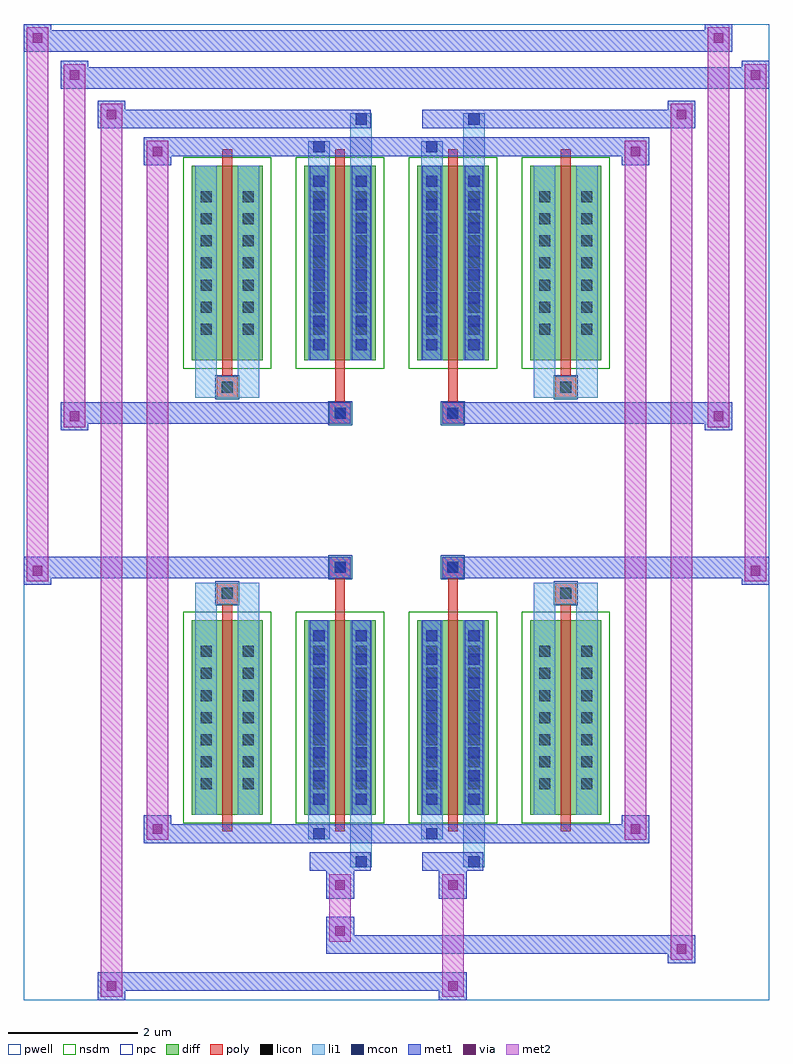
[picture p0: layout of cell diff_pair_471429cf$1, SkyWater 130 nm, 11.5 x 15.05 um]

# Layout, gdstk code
import gdstk
lib = gdstk.Library(unit=1e-6, precision=5e-09)
def R(c, l, rs):  # rectangles x0, y0, x1, y1
    for r in rs: c.add(gdstk.rectangle(r[:2], r[2:], *l))
def A(c, l, x, y, w, h, nx, ny, dx, dy):  # array of equal rectangles
    R(c, l, [(x+i*dx, y+j*dy, x+i*dx+w, y+j*dy+h) for i in range(nx) for j in range(ny)])
def P(c, l, *ps):  # polygons
    for p in ps: c.add(gdstk.Polygon(p, *l))
pwell = (64, 44)
diff = (65, 20)
poly = (66, 20)
licon = (66, 44)
li1 = (67, 20)
mcon = (67, 44)
met1 = (68, 20)
via = (68, 44)
met2 = (69, 20)
nsdm = (93, 44)
npc = (95, 20)

diff_pair_471429cf_1 = lib.new_cell('diff_pair_471429cf$1')
R(diff_pair_471429cf_1, pwell, [(-5.75,-7.86,5.75,7.19), (-3.47,-6.05,-0.01,-0.825), (0.01,-6.05,3.47,-0.825), (-3.47,0.825,-0.01,6.05), (0.01,0.825,3.47,6.05)])
A(diff_pair_471429cf_1, diff, -3.16, -5.005, 1.1, 3, 4, 2, 1.74, 7.01)
A(diff_pair_471429cf_1, poly, -2.685, -5.255, 0.15, 3.5, 4, 2, 1.74, 7.01)
R(diff_pair_471429cf_1, poly, [(-2.775,-1.755,-2.445,-1.425), (-2.775,-1.755,-2.445,-1.425), (-0.945,-1.755,-0.795,-1.355), (0.795,-1.755,0.945,-1.355), (2.445,-1.755,2.775,-1.425), (2.445,-1.755,2.775,-1.425), (-1.035,-1.355,-0.705,-1.025), (-1.035,-1.355,-0.705,-1.025), (0.705,-1.355,1.035,-1.025), (0.705,-1.355,1.035,-1.025), (-1.035,1.025,-0.705,1.355), (-1.035,1.025,-0.705,1.355), (0.705,1.025,1.035,1.355), (0.705,1.025,1.035,1.355), (-0.945,1.355,-0.795,1.755), (0.795,1.355,0.945,1.755), (-2.775,1.425,-2.445,1.755), (-2.775,1.425,-2.445,1.755), (2.445,1.425,2.775,1.755), (2.445,1.425,2.775,1.755)])
A(diff_pair_471429cf_1, licon, -3.02, -4.61, 0.17, 0.17, 1, 7, 0, 0.34)
A(diff_pair_471429cf_1, licon, -2.37, -4.61, 0.17, 0.17, 1, 7, 0, 0.34)
A(diff_pair_471429cf_1, licon, -1.28, -4.61, 0.17, 0.17, 1, 7, 0, 0.34)
A(diff_pair_471429cf_1, licon, -0.63, -4.61, 0.17, 0.17, 1, 7, 0, 0.34)
A(diff_pair_471429cf_1, licon, 0.46, -4.61, 0.17, 0.17, 1, 7, 0, 0.34)
A(diff_pair_471429cf_1, licon, 1.11, -4.61, 0.17, 0.17, 1, 7, 0, 0.34)
A(diff_pair_471429cf_1, licon, 2.2, -4.61, 0.17, 0.17, 1, 7, 0, 0.34)
A(diff_pair_471429cf_1, licon, 2.85, -4.61, 0.17, 0.17, 1, 7, 0, 0.34)
A(diff_pair_471429cf_1, licon, -3.02, 2.4, 0.17, 0.17, 1, 7, 0, 0.34)
A(diff_pair_471429cf_1, licon, -2.37, 2.4, 0.17, 0.17, 1, 7, 0, 0.34)
A(diff_pair_471429cf_1, licon, -1.28, 2.4, 0.17, 0.17, 1, 7, 0, 0.34)
A(diff_pair_471429cf_1, licon, -0.63, 2.4, 0.17, 0.17, 1, 7, 0, 0.34)
A(diff_pair_471429cf_1, licon, 0.46, 2.4, 0.17, 0.17, 1, 7, 0, 0.34)
A(diff_pair_471429cf_1, licon, 1.11, 2.4, 0.17, 0.17, 1, 7, 0, 0.34)
A(diff_pair_471429cf_1, licon, 2.2, 2.4, 0.17, 0.17, 1, 7, 0, 0.34)
A(diff_pair_471429cf_1, licon, 2.85, 2.4, 0.17, 0.17, 1, 7, 0, 0.34)
R(diff_pair_471429cf_1, licon, [(-2.695,-1.675,-2.525,-1.505), (2.525,-1.675,2.695,-1.505), (-0.955,-1.275,-0.785,-1.105), (0.785,-1.275,0.955,-1.105), (-0.955,1.105,-0.785,1.275), (0.785,1.105,0.955,1.275), (-2.695,1.505,-2.525,1.675), (2.525,1.505,2.695,1.675)])
A(diff_pair_471429cf_1, li1, -1.28, -4.85, 0.17, 0.17, 1, 8, 0, 0.36)
A(diff_pair_471429cf_1, li1, -0.63, -4.85, 0.17, 0.17, 1, 8, 0, 0.36)
A(diff_pair_471429cf_1, li1, 0.46, -4.85, 0.17, 0.17, 1, 8, 0, 0.36)
A(diff_pair_471429cf_1, li1, 1.11, -4.85, 0.17, 0.17, 1, 8, 0, 0.36)
A(diff_pair_471429cf_1, li1, -3.1, -4.69, 0.33, 0.33, 1, 7, 0, 0.34)
A(diff_pair_471429cf_1, li1, -2.45, -4.69, 0.33, 0.33, 1, 7, 0, 0.34)
A(diff_pair_471429cf_1, li1, -1.36, -4.69, 0.33, 0.33, 1, 7, 0, 0.34)
A(diff_pair_471429cf_1, li1, -0.71, -4.69, 0.33, 0.33, 1, 7, 0, 0.34)
A(diff_pair_471429cf_1, li1, 0.38, -4.69, 0.33, 0.33, 1, 7, 0, 0.34)
A(diff_pair_471429cf_1, li1, 1.03, -4.69, 0.33, 0.33, 1, 7, 0, 0.34)
A(diff_pair_471429cf_1, li1, 2.12, -4.69, 0.33, 0.33, 1, 7, 0, 0.34)
A(diff_pair_471429cf_1, li1, 2.77, -4.69, 0.33, 0.33, 1, 7, 0, 0.34)
A(diff_pair_471429cf_1, li1, -1.28, 2.16, 0.17, 0.17, 1, 8, 0, 0.36)
A(diff_pair_471429cf_1, li1, -0.63, 2.16, 0.17, 0.17, 1, 8, 0, 0.36)
A(diff_pair_471429cf_1, li1, 0.46, 2.16, 0.17, 0.17, 1, 8, 0, 0.36)
A(diff_pair_471429cf_1, li1, 1.11, 2.16, 0.17, 0.17, 1, 8, 0, 0.36)
A(diff_pair_471429cf_1, li1, -3.1, 2.32, 0.33, 0.33, 1, 7, 0, 0.34)
A(diff_pair_471429cf_1, li1, -2.45, 2.32, 0.33, 0.33, 1, 7, 0, 0.34)
A(diff_pair_471429cf_1, li1, -1.36, 2.32, 0.33, 0.33, 1, 7, 0, 0.34)
A(diff_pair_471429cf_1, li1, -0.71, 2.32, 0.33, 0.33, 1, 7, 0, 0.34)
A(diff_pair_471429cf_1, li1, 0.38, 2.32, 0.33, 0.33, 1, 7, 0, 0.34)
A(diff_pair_471429cf_1, li1, 1.03, 2.32, 0.33, 0.33, 1, 7, 0, 0.34)
A(diff_pair_471429cf_1, li1, 2.12, 2.32, 0.33, 0.33, 1, 7, 0, 0.34)
A(diff_pair_471429cf_1, li1, 2.77, 2.32, 0.33, 0.33, 1, 7, 0, 0.34)
R(diff_pair_471429cf_1, li1, [(-0.71,-5.81,-0.38,-5.005), (-0.63,-5.81,-0.46,-5.64), (1.03,-5.81,1.36,-5.005), (1.11,-5.81,1.28,-5.64), (-1.36,-5.38,-1.03,-5.005), (-1.28,-5.38,-1.11,-5.21), (0.38,-5.38,0.71,-5.005), (0.46,-5.38,0.63,-5.21), (-3.1,-5.005,-2.77,-2.005), (-2.45,-5.005,-2.12,-2.005), (-1.36,-5.005,-1.03,-2.005), (-0.71,-5.005,-0.38,-2.005), (0.38,-5.005,0.71,-2.005), (1.03,-5.005,1.36,-2.005), (2.12,-5.005,2.45,-2.005), (2.77,-5.005,3.1,-2.005), (-1.28,-4.85,-1.11,-2.16), (-0.63,-4.85,-0.46,-2.16), (0.46,-4.85,0.63,-2.16), (1.11,-4.85,1.28,-2.16), (-3.1,-2.005,-2.77,-1.425), (-2.45,-2.005,-2.12,-1.425), (2.12,-2.005,2.45,-1.425), (2.77,-2.005,3.1,-1.425), (-3.1,-1.755,-2.775,-1.425), (-2.775,-1.755,-2.445,-1.425), (-2.445,-1.755,-2.12,-1.425), (2.12,-1.755,2.445,-1.425), (2.445,-1.755,2.775,-1.425), (2.775,-1.755,3.1,-1.425), (-1.035,-1.355,-0.705,-1.025), (0.705,-1.355,1.035,-1.025), (-1.035,1.025,-0.705,1.355), (0.705,1.025,1.035,1.355), (-3.1,1.425,-2.775,1.755), (-3.1,1.425,-2.77,2.005), (-2.775,1.425,-2.445,1.755), (-2.45,1.425,-2.12,2.005), (-2.445,1.425,-2.12,1.755), (2.12,1.425,2.445,1.755), (2.12,1.425,2.45,2.005), (2.445,1.425,2.775,1.755), (2.77,1.425,3.1,2.005), (2.775,1.425,3.1,1.755), (-3.1,2.005,-2.77,5.005), (-2.45,2.005,-2.12,5.005), (-1.36,2.005,-1.03,5.005), (-0.71,2.005,-0.38,5.005), (0.38,2.005,0.71,5.005), (1.03,2.005,1.36,5.005), (2.12,2.005,2.45,5.005), (2.77,2.005,3.1,5.005), (-1.28,2.16,-1.11,4.85), (-0.63,2.16,-0.46,4.85), (0.46,2.16,0.63,4.85), (1.11,2.16,1.28,4.85), (-1.36,5.005,-1.03,5.38), (-0.71,5.005,-0.38,5.81), (0.38,5.005,0.71,5.38), (1.03,5.005,1.36,5.81), (-1.28,5.21,-1.11,5.38), (0.46,5.21,0.63,5.38), (-0.63,5.64,-0.46,5.81), (1.11,5.64,1.28,5.81)])
A(diff_pair_471429cf_1, mcon, -1.28, -4.85, 0.17, 0.17, 1, 8, 0, 0.36)
A(diff_pair_471429cf_1, mcon, -0.63, -4.85, 0.17, 0.17, 1, 8, 0, 0.36)
A(diff_pair_471429cf_1, mcon, 0.46, -4.85, 0.17, 0.17, 1, 8, 0, 0.36)
A(diff_pair_471429cf_1, mcon, 1.11, -4.85, 0.17, 0.17, 1, 8, 0, 0.36)
A(diff_pair_471429cf_1, mcon, -1.28, 2.16, 0.17, 0.17, 1, 8, 0, 0.36)
A(diff_pair_471429cf_1, mcon, -0.63, 2.16, 0.17, 0.17, 1, 8, 0, 0.36)
A(diff_pair_471429cf_1, mcon, 0.46, 2.16, 0.17, 0.17, 1, 8, 0, 0.36)
A(diff_pair_471429cf_1, mcon, 1.11, 2.16, 0.17, 0.17, 1, 8, 0, 0.36)
R(diff_pair_471429cf_1, mcon, [(-0.63,-5.81,-0.46,-5.64), (1.11,-5.81,1.28,-5.64), (-1.28,-5.38,-1.11,-5.21), (0.46,-5.38,0.63,-5.21), (-0.955,-1.275,-0.785,-1.105), (0.785,-1.275,0.955,-1.105), (-0.955,1.105,-0.785,1.275), (0.785,1.105,0.955,1.275), (-1.28,5.21,-1.11,5.38), (0.46,5.21,0.63,5.38), (-0.63,5.64,-0.46,5.81), (1.11,5.64,1.28,5.81)])
A(diff_pair_471429cf_1, met1, -1.34, -4.91, 0.29, 0.29, 1, 8, 0, 0.36)
A(diff_pair_471429cf_1, met1, -0.69, -4.91, 0.29, 0.29, 1, 8, 0, 0.36)
A(diff_pair_471429cf_1, met1, 0.4, -4.91, 0.29, 0.29, 1, 8, 0, 0.36)
A(diff_pair_471429cf_1, met1, 1.05, -4.91, 0.29, 0.29, 1, 8, 0, 0.36)
A(diff_pair_471429cf_1, met1, -1.34, 2.1, 0.29, 0.29, 1, 8, 0, 0.36)
A(diff_pair_471429cf_1, met1, -0.69, 2.1, 0.29, 0.29, 1, 8, 0, 0.36)
A(diff_pair_471429cf_1, met1, 0.4, 2.1, 0.29, 0.29, 1, 8, 0, 0.36)
A(diff_pair_471429cf_1, met1, 1.05, 2.1, 0.29, 0.29, 1, 8, 0, 0.36)
R(diff_pair_471429cf_1, met1, [(-4.61,-7.86,-4.18,-7.43), (0.655,-7.86,1.085,-7.43), (-4.61,-7.72,1.085,-7.43), (4.18,-7.29,4.61,-6.86), (-1.085,-7.15,4.61,-6.86), (-1.085,-7.01,-0.655,-6.58), (-1.085,-6.3,-0.655,-5.87), (0.655,-6.3,1.085,-5.87), (-1.34,-5.87,-0.4,-5.58), (-0.69,-5.87,-0.4,-5.58), (0.4,-5.87,1.34,-5.58), (1.05,-5.87,1.34,-5.58), (-3.9,-5.44,-3.47,-5.01), (-3.9,-5.44,-1.34,-5.15), (-1.34,-5.44,-1.05,-5.15), (-1.34,-5.44,-0.4,-5.15), (-0.4,-5.44,0.4,-5.15), (0.4,-5.44,0.69,-5.15), (0.4,-5.44,1.34,-5.15), (1.34,-5.44,3.9,-5.15), (3.47,-5.44,3.9,-5.01), (-1.34,-5.005,-1.05,-2.005), (-0.69,-5.005,-0.4,-2.005), (0.4,-5.005,0.69,-2.005), (1.05,-5.005,1.34,-2.005), (-5.75,-1.455,-5.32,-1.025), (5.32,-1.455,5.75,-1.025), (-5.75,-1.355,-0.705,-1.025), (-1.035,-1.355,-0.705,-1.025), (0.705,-1.355,1.035,-1.025), (0.705,-1.355,5.75,-1.025), (-1.015,-1.335,-0.725,-1.045), (0.725,-1.335,1.015,-1.045), (-5.18,0.925,-4.75,1.355), (4.75,0.925,5.18,1.355), (-5.18,1.025,-1.035,1.355), (-1.035,1.025,-0.705,1.355), (0.705,1.025,1.035,1.355), (1.035,1.025,5.18,1.355), (-1.015,1.045,-0.725,1.335), (0.725,1.045,1.015,1.335), (-1.34,2.005,-1.05,5.005), (-0.69,2.005,-0.4,5.005), (0.4,2.005,0.69,5.005), (1.05,2.005,1.34,5.005), (-3.9,5.01,-3.47,5.44), (3.47,5.01,3.9,5.44), (-3.9,5.15,-1.34,5.44), (-1.34,5.15,-1.05,5.44), (-1.34,5.15,-0.4,5.44), (-0.4,5.15,0.4,5.44), (0.4,5.15,0.69,5.44), (0.4,5.15,1.34,5.44), (1.34,5.15,3.9,5.44), (-4.61,5.58,-4.18,6.01), (-4.61,5.58,-1.34,5.87), (-1.34,5.58,-0.4,5.87), (-0.69,5.58,-0.4,5.87), (0.4,5.58,1.34,5.87), (1.05,5.58,1.34,5.87), (1.34,5.58,4.61,5.87), (4.18,5.58,4.61,6.01), (-5.18,6.19,-4.75,6.62), (-5.18,6.19,-3.47,6.52), (-3.47,6.19,3.47,6.52), (3.47,6.19,5.75,6.52), (5.32,6.19,5.75,6.62), (-5.75,6.76,-5.32,7.19), (-5.75,6.76,-3.47,7.09), (-3.47,6.76,3.47,7.09), (3.47,6.76,5.18,7.09), (4.75,6.76,5.18,7.19)])
R(diff_pair_471429cf_1, via, [(-4.47,-7.72,-4.32,-7.57), (0.795,-7.72,0.945,-7.57), (4.32,-7.15,4.47,-7), (-0.945,-6.87,-0.795,-6.72), (-0.945,-6.16,-0.795,-6.01), (0.795,-6.16,0.945,-6.01), (-3.76,-5.3,-3.61,-5.15), (3.61,-5.3,3.76,-5.15), (-5.61,-1.315,-5.46,-1.165), (5.46,-1.315,5.61,-1.165), (-5.04,1.065,-4.89,1.215), (4.89,1.065,5.04,1.215), (-3.76,5.15,-3.61,5.3), (3.61,5.15,3.76,5.3), (-4.47,5.72,-4.32,5.87), (4.32,5.72,4.47,5.87), (-5.04,6.33,-4.89,6.48), (5.46,6.33,5.61,6.48), (-5.61,6.9,-5.46,7.05), (4.89,6.9,5.04,7.05)])
R(diff_pair_471429cf_1, met2, [(-4.56,-7.81,-4.23,-7.48), (-4.56,-7.81,-4.23,5.96), (0.705,-7.81,1.035,-7.48), (0.705,-7.48,1.035,-6.25), (4.23,-7.24,4.56,-6.91), (4.23,-7.24,4.56,5.96), (-1.035,-6.96,-0.705,-6.63), (-1.035,-6.63,-0.705,-6.25), (-1.035,-6.25,-0.705,-5.92), (0.705,-6.25,1.035,-5.92), (-3.85,-5.39,-3.52,-5.06), (-3.85,-5.39,-3.52,5.39), (3.52,-5.39,3.85,-5.06), (3.52,-5.39,3.85,5.39), (-5.7,-1.405,-5.37,-1.075), (-5.7,-1.405,-5.37,7.14), (5.37,-1.405,5.7,-1.075), (5.37,-1.405,5.7,6.57), (-5.13,0.975,-4.8,1.305), (-5.13,0.975,-4.8,6.57), (4.8,0.975,5.13,1.305), (4.8,0.975,5.13,7.14), (-3.85,5.06,-3.52,5.39), (3.52,5.06,3.85,5.39), (-4.56,5.63,-4.23,5.96), (4.23,5.63,4.56,5.96), (-5.13,6.24,-4.8,6.57), (5.37,6.24,5.7,6.57), (-5.7,6.81,-5.37,7.14), (4.8,6.81,5.13,7.14)])
P(diff_pair_471429cf_1, met2, [(5.7,-1.405),(5.7,-1.405),(5.7,-1.075),(5.7,-1.075)],
  [(5.7,6.24),(5.7,6.24),(5.7,6.57),(5.7,6.57)],
  [(-5.37,-1.405),(-5.37,-1.405),(-5.37,-1.075),(-5.37,-1.075)],
  [(-5.37,6.81),(-5.37,6.81),(-5.37,7.14),(-5.37,7.14)],
  [(5.13,0.975),(5.13,0.975),(5.13,1.305),(5.13,1.305)],
  [(5.13,6.81),(5.13,6.81),(5.13,7.14),(5.13,7.14)],
  [(-4.8,0.975),(-4.8,0.975),(-4.8,1.305),(-4.8,1.305)],
  [(-4.8,6.24),(-4.8,6.24),(-4.8,6.57),(-4.8,6.57)],
  [(-4.23,-7.81),(-4.23,-7.81),(-4.23,-7.48),(-4.23,-7.48)],
  [(-4.23,5.63),(-4.23,5.63),(-4.23,5.96),(-4.23,5.96)],
  [(4.56,-7.24),(4.56,-7.24),(4.56,-6.91),(4.56,-6.91)],
  [(4.56,5.63),(4.56,5.63),(4.56,5.96),(4.56,5.96)],
  [(-3.52,-5.39),(-3.52,-5.39),(-3.52,-5.06),(-3.52,-5.06)],
  [(-3.52,5.06),(-3.52,5.06),(-3.52,5.39),(-3.52,5.39)],
  [(3.85,-5.39),(3.85,-5.39),(3.85,-5.06),(3.85,-5.06)],
  [(3.85,5.06),(3.85,5.06),(3.85,5.39),(3.85,5.39)])
A(diff_pair_471429cf_1, nsdm, -3.29, -5.135, 1.36, 3.26, 4, 2, 1.74, 7.01)
R(diff_pair_471429cf_1, npc, [(-2.795,-1.775,-2.425,-1.405), (2.425,-1.775,2.795,-1.405), (-1.055,-1.375,-0.685,-1.005), (0.685,-1.375,1.055,-1.005), (-1.055,1.005,-0.685,1.375), (0.685,1.005,1.055,1.375), (-2.795,1.405,-2.425,1.775), (2.425,1.405,2.795,1.775)])

lib.write_gds('diff_pair_471429cf_1.gds')
